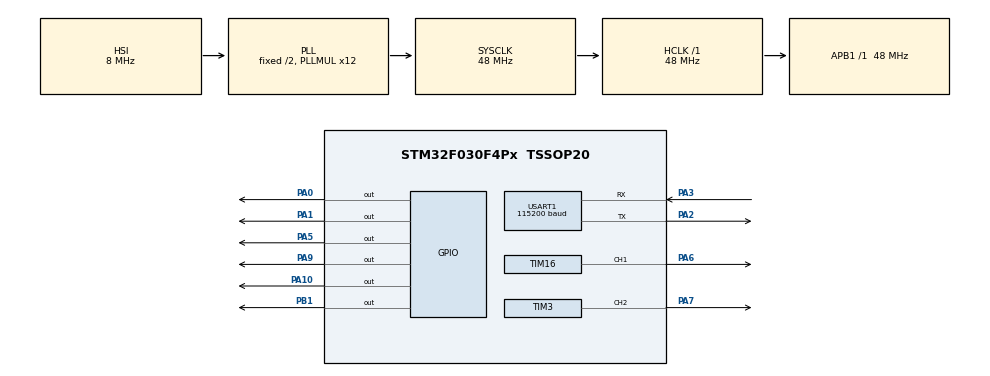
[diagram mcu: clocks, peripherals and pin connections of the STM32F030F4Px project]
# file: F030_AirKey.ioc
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Mcu.Family=STM32F0
Mcu.Name=STM32F030F4Px
Mcu.Package=TSSOP20
NVIC.USART1_IRQn=true\:0\:0\:false\:false\:true\:true\:true\:true
PA0.GPIO_PuPd=GPIO_PULLDOWN
PA0.Signal=GPIO_Output
PA1.GPIO_PuPd=GPIO_PULLDOWN
PA1.Signal=GPIO_Output
PA10.GPIO_PuPd=GPIO_PULLDOWN
PA10.Signal=GPIO_Output
PA13.Mode=Serial_Wire
PA13.Signal=SYS_SWDIO
PA14.Mode=Serial_Wire
PA14.Signal=SYS_SWCLK
PA2.Mode=Asynchronous
PA2.Signal=USART1_TX
PA3.Mode=Asynchronous
PA3.Signal=USART1_RX
PA5.GPIO_PuPd=GPIO_PULLDOWN
PA5.Signal=GPIO_Output
PA6.Signal=S_TIM16_CH1
PA7.Signal=S_TIM3_CH2
PA9.GPIO_PuPd=GPIO_PULLDOWN
PA9.Signal=GPIO_Output
PB1.GPIO_PuPd=GPIO_PULLDOWN
PB1.Signal=GPIO_Output
ProjectManager.HeapSize=0x200
ProjectManager.StackSize=0x400
ProjectManager.TargetToolchain=STM32CubeIDE
RCC.AHBFreq_Value=48000000
RCC.APB1Freq_Value=48000000
RCC.APB1TimFreq_Value=48000000
RCC.HCLKFreq_Value=48000000
RCC.PLLMUL=RCC_PLL_MUL12
RCC.SYSCLKFreq_VALUE=48000000
RCC.SYSCLKSource=RCC_SYSCLKSOURCE_PLLCLK
SH.S_TIM16_CH1.0=TIM16_CH1,PWM Generation1 CH1
SH.S_TIM3_CH2.0=TIM3_CH2,PWM Generation2 CH2
TIM16.Channel=TIM_CHANNEL_1
TIM3.Channel-PWM\ Generation2\ CH2=TIM_CHANNEL_2
USART1.BaudRate=115200
USART1.VirtualMode-Asynchronous=VM_ASYNC
VP_TIM16_VS_ClockSourceINT.Mode=Enable_Timer
board=custom

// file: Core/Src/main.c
/* USER CODE BEGIN Header */
/**
  ******************************************************************************
  * @file           : main.c
  * @brief          : Main program body
  ******************************************************************************
  * @attention
  *
  * Copyright (c) 2024 STMicroelectronics.
  * All rights reserved.
  *
  * This software is licensed under terms that can be found in the LICENSE file
  * in the root directory of this software component.
  * If no LICENSE file comes with this software, it is provided AS-IS.
  *
  ******************************************************************************
  */
/* USER CODE END Header */
#include "main.h"
#include "tim.h"
#include "usart.h"
#include "gpio.h"

void SystemClock_Config(void);

int main(void)
{

  /* MCU Configuration--------------------------------------------------------*/

  /* Reset of all peripherals, Initializes the Flash interface and the Systick. */
  HAL_Init();

  /* Configure the system clock */
  SystemClock_Config();

  /* Initialize all configured peripherals */
  MX_GPIO_Init();
  MX_TIM3_Init();
  MX_TIM16_Init();
  MX_USART1_UART_Init();
  /* USER CODE BEGIN 2 */
  uint8_t rec_buf[2] = {0};
  /* USER CODE END 2 */

  /* Infinite loop */
  while (1)
  {

    /* USER CODE BEGIN 3 */
	  if (HAL_UART_Receive(&huart1, rec_buf, 2, 1000) == HAL_OK)
	  {
		  switch(rec_buf[0])
		  {
		  case 1:
			  HAL_GPIO_WritePin(GPIOA,GPIO_PIN_1,1);
			  HAL_GPIO_WritePin(GPIOA,GPIO_PIN_0,0);
			  HAL_GPIO_WritePin(GPIOA,GPIO_PIN_9,0);
			  HAL_GPIO_WritePin(GPIOA,GPIO_PIN_10,0);
			  HAL_GPIO_WritePin(GPIOA,GPIO_PIN_5,0);
			  break;
		  case 2:
			  HAL_GPIO_WritePin(GPIOA,GPIO_PIN_1,0);
			  HAL_GPIO_WritePin(GPIOA,GPIO_PIN_0,1);
			  HAL_GPIO_WritePin(GPIOA,GPIO_PIN_9,0);
			  HAL_GPIO_WritePin(GPIOA,GPIO_PIN_10,0);
			  HAL_GPIO_WritePin(GPIOA,GPIO_PIN_5,0);
			  break;
		  case 3:
			  HAL_GPIO_WritePin(GPIOA,GPIO_PIN_1,0);
			  HAL_GPIO_WritePin(GPIOA,GPIO_PIN_0,0);
			  HAL_GPIO_WritePin(GPIOA,GPIO_PIN_9,1);
			  HAL_GPIO_WritePin(GPIOA,GPIO_PIN_10,0);
			  HAL_GPIO_WritePin(GPIOA,GPIO_PIN_5,0);
			  break;
		  case 4:
			  HAL_GPIO_WritePin(GPIOA,GPIO_PIN_1,0);
			  HAL_GPIO_WritePin(GPIOA,GPIO_PIN_0,0);
			  HAL_GPIO_WritePin(GPIOA,GPIO_PIN_9,0);
			  HAL_GPIO_WritePin(GPIOA,GPIO_PIN_10,1);
			  HAL_GPIO_WritePin(GPIOA,GPIO_PIN_5,0);
			  break;
		  case 5:
			  HAL_GPIO_WritePin(GPIOA,GPIO_PIN_1,0);
			  HAL_GPIO_WritePin(GPIOA,GPIO_PIN_0,0);
			  HAL_GPIO_WritePin(GPIOA,GPIO_PIN_9,0);
			  HAL_GPIO_WritePin(GPIOA,GPIO_PIN_10,0);
			  HAL_GPIO_WritePin(GPIOA,GPIO_PIN_5,1);
			  break;
		  default:
			  break;
		  }
	  }
  }
  /* USER CODE END 3 */
}

void SystemClock_Config(void)
{
  RCC_OscInitTypeDef RCC_OscInitStruct = {0};
  RCC_ClkInitTypeDef RCC_ClkInitStruct = {0};
  RCC_PeriphCLKInitTypeDef PeriphClkInit = {0};

  /** Initializes the RCC Oscillators according to the specified parameters
  * in the RCC_OscInitTypeDef structure.
  */
  RCC_OscInitStruct.OscillatorType = RCC_OSCILLATORTYPE_HSI;
  RCC_OscInitStruct.HSIState = RCC_HSI_ON;
  RCC_OscInitStruct.HSICalibrationValue = RCC_HSICALIBRATION_DEFAULT;
  RCC_OscInitStruct.PLL.PLLState = RCC_PLL_ON;
  RCC_OscInitStruct.PLL.PLLSource = RCC_PLLSOURCE_HSI;
  RCC_OscInitStruct.PLL.PLLMUL = RCC_PLL_MUL12;
  RCC_OscInitStruct.PLL.PREDIV = RCC_PREDIV_DIV1;
  if (HAL_RCC_OscConfig(&RCC_OscInitStruct) != HAL_OK)
  {
    Error_Handler();
  }

  /** Initializes the CPU, AHB and APB buses clocks
  */
  RCC_ClkInitStruct.ClockType = RCC_CLOCKTYPE_HCLK|RCC_CLOCKTYPE_SYSCLK
                              |RCC_CLOCKTYPE_PCLK1;
  RCC_ClkInitStruct.SYSCLKSource = RCC_SYSCLKSOURCE_PLLCLK;
  RCC_ClkInitStruct.AHBCLKDivider = RCC_SYSCLK_DIV1;
  RCC_ClkInitStruct.APB1CLKDivider = RCC_HCLK_DIV1;

  if (HAL_RCC_ClockConfig(&RCC_ClkInitStruct, FLASH_LATENCY_1) != HAL_OK)
  {
    Error_Handler();
  }
  PeriphClkInit.PeriphClockSelection = RCC_PERIPHCLK_USART1;
  PeriphClkInit.Usart1ClockSelection = RCC_USART1CLKSOURCE_PCLK1;
  if (HAL_RCCEx_PeriphCLKConfig(&PeriphClkInit) != HAL_OK)
  {
    Error_Handler();
  }
}

void Error_Handler(void)
{
  __disable_irq();
  while (1)
  {
  }
}
